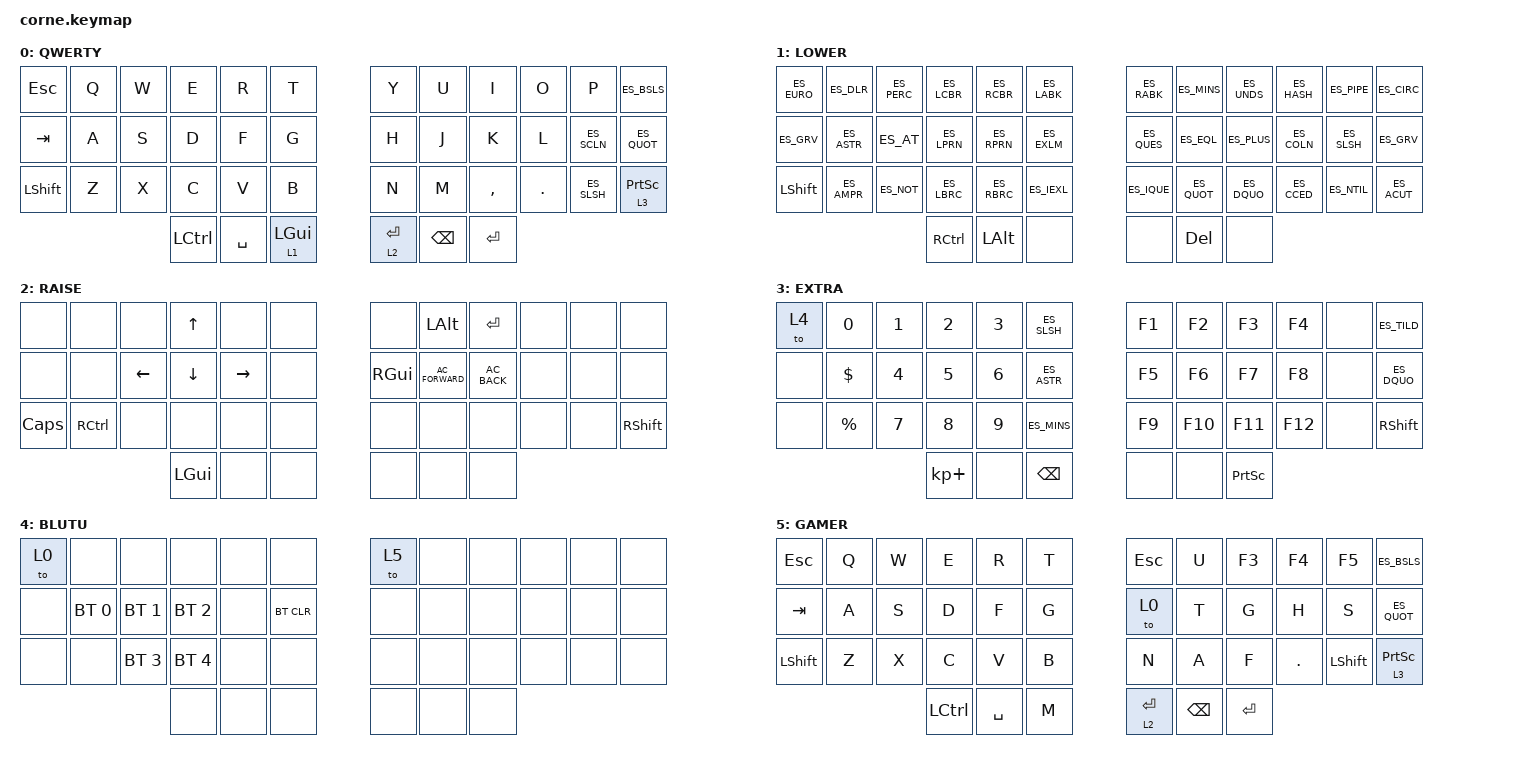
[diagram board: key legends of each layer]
/*
 * Copyright (c) 2020 The ZMK Contributors
 *
 * SPDX-License-Identifier: MIT
 */

#include <behaviors.dtsi>
#include <dt-bindings/zmk/bt.h>
#include <dt-bindings/zmk/keys.h>
#include <dt-bindings/zmk/keys.h>
#include "keymap_spanish.h"


// Layer aliases
#define QWERTY 0
#define LOWER 1
#define RAISE 2
#define EXTRA 3
#define BLUTU 4
#define GAMER 4


/ {

    keymap {
        compatible = "zmk,keymap";

        default_layer {

            label = "QWERTY";

            // -----------------------------------------------------------------------------------------
            // | ESC |  Q  |  W  |  E  |  R  |  T  |          |  Y  |  U  |  I  |  O  |  P  |  \  |
            // | TAB |  A  |  S  |  D  |  F  |  G  |          |  H  |  J  |  K  |  L  |  ;  |  '  |
            // | SHF |  Z  |  X  |  C  |  V  |  B  |          |  N  |  M  |  ,  |  .  |  /  | 3PS |
            //                   | CTR | SPC | 1GU |          | 2EN | BSP | ENT |

            bindings = <
&kp ESCAPE  &kp Q  &kp W  &kp E      &kp R      &kp T             &kp Y        &kp U          &kp I      &kp O    &kp P        &kp ES_BSLS
&kp TAB     &kp A  &kp S  &kp D      &kp F      &kp G             &kp H        &kp J          &kp K      &kp L    &kp ES_SCLN  &kp ES_QUOT
&kp LSHFT   &kp Z  &kp X  &kp C      &kp V      &kp B             &kp N        &kp M          &kp COMMA  &kp DOT  &kp ES_SLSH  &lt 3 PRINTSCREEN
                          &kp LCTRL  &kp SPACE  &lt 1 LEFT_GUI    &lt 2 ENTER  &kp BACKSPACE  &kp ENTER
            >;
        };

        lower_layer {

            label = "LOWER";

            // -----------------------------------------------------------------------------------------
            // |  €  |  $  |  %  |  {  |  }  |  <  |          |  >  |  -  |  _  |  #  |  |  |  ^  |
            // |  `  |  *  |  @  |  (  |  )  |  !  |          |  ?  |  =  |  +  |  :  |  /  |  ç  |
            // | LSF |  &  |  ¬  |  [  |  ]  |  ¡  |          |  ¿  |  '  |  "  |  ç  |  ñ  |  ´  |
            //                   | RCT | LAT |     |          |     | DEL |     |

            bindings = <
&kp ES_EURO  &kp ES_DLR    &kp ES_PERC  &kp ES_LCBR   &kp ES_RCBR    &kp ES_LABK           &kp ES_RABK   &kp ES_MINS   &kp ES_UNDS   &kp ES_HASH   &kp ES_PIPE   &kp ES_CIRC
&kp ES_GRV   &kp ES_ASTR   &kp ES_AT    &kp ES_LPRN   &kp ES_RPRN    &kp ES_EXLM           &kp ES_QUES   &kp ES_EQL    &kp ES_PLUS   &kp ES_COLN   &kp ES_SLSH   &kp ES_GRV
&kp LSHFT    &kp ES_AMPR   &kp ES_NOT   &kp ES_LBRC   &kp ES_RBRC    &kp ES_IEXL           &kp ES_IQUE   &kp ES_QUOT   &kp ES_DQUO   &kp ES_CCED   &kp ES_NTIL   &kp ES_ACUT
                                &kp RCTRL           &kp LEFT_ALT          &none              &none             &kp DELETE        &none
            >;
        };

        raise_layer {

            label = "RAISE";

            // -----------------------------------------------------------------------------------------
            // |     |     |     | FAR |     |     |          |     |     |     |     |     |     |
            // |     |     | FIZ | FAB | FDE |     |          |     |AVANZ|RETRO|     |     |     |
            // | CPS |     |     |     |     |     |          |     |     |     |     |     | RSF |
            //                   | LGU |     |     |          |     |     |     |

            bindings = <
&none  &none  &none           &kp UP_ARROW    &none      &none      &none  &kp LALT  &kp ENTER  &none  &none  &none
&none  &none  &kp LEFT_ARROW  &kp DOWN_ARROW  &kp RIGHT  &none      &kp RGUI  &kp C_AC_FORWARD  &kp C_AC_BACK  &none  &none  &none
&kp CAPSLOCK  &kp RCTRL       &none           &none      &none      &none  &none  &none  &none  &none  &none  &kp RIGHT_SHIFT
                              &kp LGUI        &none      &none      &none  &none  &none
            >;
        };

        Extra_layer {

            label = "EXTRA";

            // -----------------------------------------------------------------------------------------
            // | TO4 |  0  |  1  |  2  |  3  |  /  |          | F_1 | F_2 | F_3 | F_4 |     |  ~  |
            // |     |  $  |  4  |  5  |  6  |  *  |          | F_5 | F_6 | F_7 | F_8 |     |  "  |
            // |     |  %  |  7  |  8  |  9  |  -  |          | F_9 | F10 | F11 | F12 |     | RSH |
            //                   |  +  |     | BSP |          |     |     | PRT |

            bindings = <
&to 4  &kp N0       &kp N1  &kp N2       &kp N3       &kp ES_SLSH       &kp F1  &kp F2   &kp F3    &kp F4   &none  &kp ES_TILD
&none  &kp DOLLAR   &kp N4  &kp N5       &kp N6       &kp ES_ASTR       &kp F5  &kp F6   &kp F7    &kp F8   &none  &kp ES_DQUO
&none  &kp PERCENT  &kp N7  &kp N8       &kp N9       &kp ES_MINS       &kp F9  &kp F10  &kp F11   &kp F12  &none  &kp RSHFT
                            &kp KP_PLUS  &none  &kp BSPC          &none   &none    &kp PRINTSCREEN
            >;
        };

        Blutut_layer {

            label = "BLUTU";

            // -----------------------------------------------------------------------------------------
            // | TO0 |     |     |     |     |     |          |     |     |     |     |     |     |
            // |     | BS0 | BS1 | BS2 |     | BCL |          |     |     |     |     |     |     |
            // |     |     | BS3 | BS4 |     |     |          |     |     |     |     |     |     |
            //                   |     |     |     |          |     |     |     |

            bindings = <
&to 0  &none         &none         &none         &none  &none         &to 5  &none  &none  &none  &none  &none
&none  &bt BT_SEL 0  &bt BT_SEL 1  &bt BT_SEL 2  &none  &bt BT_CLR    &none  &none  &none             &none  &none  &none
&none  &none         &bt BT_SEL 3  &bt BT_SEL 4  &none  &none         &none  &none  &none  &none  &none  &none
                                   &none         &none  &none         &none  &none  &none
            >;
        };

        gamer_layer {

            label = "GAMER";

            // -----------------------------------------------------------------------------------------
            // | ESC |  Q  |  W  |  E  |  R  |  T  |          | ESC | F1  | F3  | F4  | F5  |  \  |
            // | TAB |  A  |  S  |  D  |  F  |  G  |          |  0  |  T  |  G  |  H  |  S  |  '  |
            // | SHF |  Z  |  X  |  C  |  V  |  B  |          |  N  |  A  |  F  |  .  | SHF | 3PS |
            //                   | CTR | SPC |  M  |          | 2EN | BSP | ENT |

            bindings = <
&kp ESCAPE  &kp Q  &kp W  &kp E      &kp R      &kp T             &kp ESCAPE   &kp U          &kp F3     &kp F4   &kp F5     &kp ES_BSLS
&kp TAB     &kp A  &kp S  &kp D      &kp F      &kp G             &to 0        &kp T          &kp G      &kp H    &kp S      &kp ES_QUOT
&kp LSHFT   &kp Z  &kp X  &kp C      &kp V      &kp B             &kp N        &kp A          &kp F      &kp DOT  &kp LSHFT  &lt 3 PRINTSCREEN
                          &kp LCTRL  &kp SPACE  &kp M             &lt 2 ENTER  &kp BACKSPACE  &kp ENTER
            >;
        };
    };
};

/ {
    combos {
        compatible = "zmk,combos";
        combo_cleanterminal {
            timeout-ms = <150>;
            key-positions = <36 24>;
            bindings = <&kp LC(L)>;
        };
    };
};


            //-------------------------------Keymap vacío-----------------------------------------------
            // -----------------------------------------------------------------------------------------
            // |     |     |     |     |     |     |          |     |     |     |     |     |
            // |     |     |     |     |     |     |          |     |     |     |     |     |
            // |     |     |     |     |     |     |          |     |     |     |     |     |
            //                   |     |     |     |          |     |     |     |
